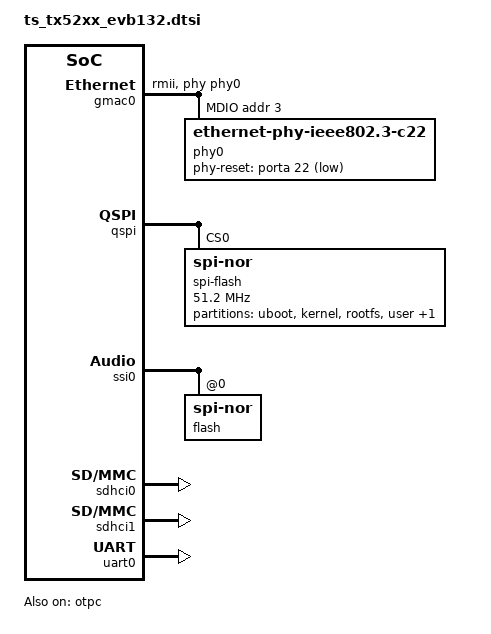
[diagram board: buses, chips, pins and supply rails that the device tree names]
// SPDX-License-Identifier: GPL-2.0+
/*
 * dts file for tsingmicro tx5215
 *
 * Copyright 2022 Beijing Tsingmicro Intelligent Technology Co.,Ltd.
 *
 */

#include "ts_tx5215.dtsi"
#include "ts-tx5215-clk.dtsi"
#include "ts-tx5215-reset.dtsi"
#include "ts-tx52xx-evb132-pinctrl.dtsi"
#include <dt-bindings/input/input.h>
#include <dt-bindings/gpio/gpio.h>
#include <dt-bindings/phy/phy.h>

/ {
	chosen {
		bootargs = "earlycon";
		stdout-path = "serial0:115200n8";
	};
};

&gmac0 {
	status = "okay";
	phy-handle = <&phy0>;
	phy-mode = "rmii";
	pinctrl-names = "default";
	pinctrl-0 = <&mac0_pinctrl0>, <&mac0_pinctrl1>, <&mac0_rst_pinctrl>;
	mdio {
		#address-cells = <0x1>;
		#size-cells = <0x0>;
		phy0: phy@0 {
			compatible = "ethernet-phy-ieee802.3-c22";
			device_type = "ethernet-phy";
			reg = <0x3>;
			phy-reset-gpios = <&porta 22 GPIO_ACTIVE_LOW>;
		};
	};
};
&gmac1 {
	status = "disabled";
	phy-handle = <&phy1>;
	phy-mode = "rmii";
	pinctrl-names = "default";
	pinctrl-0 = <&mac1_pinctrl0>, <&mac1_pinctrl1>, <&mac1_pinctrl2>, <&mac1_pinctrl3>;
	mdio {
		#address-cells = <0x1>;
		#size-cells = <0x0>;
		phy1: phy@1 {
			compatible = "ethernet-phy-ieee802.3-c22";
			device_type = "ethernet-phy";
			reg = <0x3>;
		};
	};
};
&qspi {
	status = "okay";
	page-size = <256>;
	block-size = <16>;
	#address-cells = <1>;
	#size-cells = <0>;
#if 0
	//pinctrl-names = "default";
	//pinctrl-0 = <&qspi_pinctrl>;

	nand1:spi-nand@0 {
		status = "disabled";
		compatible = "spi-nand";
		reg = <0>; /* CS0 */
		//spi-max-frequency = <40000000>;
		spi-max-frequency = <20000000>;
		page-size = <2048>;
		block-size = <131072>;
		spi-rx-bus-width = <4>;
		spi-tx-bus-width = <4>;

		partitions {
			compatible = "fixed-partitions";
			#address-cells = <1>;
			#size-cells = <1>;

			/* reserved for future boot direct from NAND flash
			 * (this would use the same layout as the 8MiB NOR flash)
			 */
			partition@0 {
				label = "nand-boot-reserved";
				reg = <0 0x800000>;
			};

			/* recovery / install environment */
			partition@800000 {
				label = "recovery";
				reg = <0x800000 0x2000000>;
			};

			/* ubia (first OpenWrt) - a/b names to prevent confusion with ubi0/1/etc. */
			partition@2800000 {
				label = "ubia";
				reg = <0x2800000 0x6C00000>;
			};

			/* ubib (second OpenWrt) */
			partition@9400000 {
				label = "ubib";
				reg = <0x9400000 0x6C00000>;
			};
		};
	};
#endif
	spi-flash@0 {
		status = "okay";
		compatible = "jedec,spi-nor";
		spi-max-frequency = <51200000>; /* Based on DC1 spec */
		reg = <0>; /* CS0 */
		spi-rx-bus-width = <4>;
		spi-tx-bus-width = <4>;

		partitions {
			compatible = "fixed-partitions";
			#address-cells = <1>;
			#size-cells = <1>;

			/* reserved for future boot direct from NAND flash
			 * (this would use the same layout as the 8MiB NOR flash)
			 */
			uboot@0 {
				label = "uboot";
				reg = <0 0x80000>;
			};

			kernel@80000 {
				label = "kernel";
				reg = <0x80000 0x400000>;
			};

			rootfs@480000 {
				label = "rootfs";
				reg = <0x480000 0x300000>;
			};

			user@780000 {
				label = "user";
				reg = <0x780000 0x780000>;
			};

			user2@780000 {
				label = "user2";
				reg = <0xf00000 0x100000>;
			};
		};
	};
};

&ssi0 {
	status = "okay";
	flash@0 {
		compatible = "jedec,spi-nor";
	};
};

&pinctrl {
	status = "okay";
};


&sdhci0 {
	status = "okay";
	pinctrl-names = "default";
	pinctrl-0 = <&emmc0_pinctrl>;
};

&sdhci1 {
	status = "okay";
	pinctrl-names = "default";
	pinctrl-0 = <&emmc1_pinctrl>, <&sd_pwr_pinctrl>;
};

&uart0 {
	status = "okay";
};
&gpio0 {
	status = "okay";
};
&gpio1 {
	status = "okay";
};
&otpc {
	status = "okay";
};
